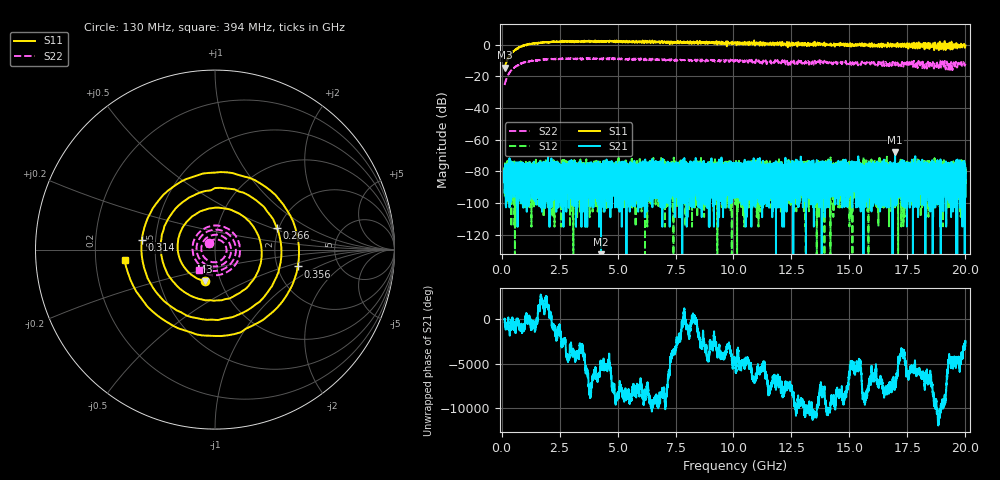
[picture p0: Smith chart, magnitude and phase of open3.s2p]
!Created with skrf (http://scikit-rf.org).
# GHz S RI R 50.0
!freq ReS11 ImS11 ReS21 ImS21 ReS12 ImS12 ReS22 ImS22
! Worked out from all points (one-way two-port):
!   20013 points, 130 MHz to 20 GHz, reference 50 ohm
!   highest |S21| = -68.10 dB at 16.97 GHz (marker M1); lowest = -178.5 dB at 4.287 GHz (marker M2)
!   lowest |S11| = -14.7 dB at 130 MHz (marker M3), VSWR 1.45, Z = 42.1 - j15.4 ohm
!   |S11| at or under -10 dB: start of sweep to 239.6 MHz
!   |S22| runs from -25.5 to -8.4 dB; largest |S21 - S12| = 0.00041
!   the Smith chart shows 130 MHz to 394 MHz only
!   S11 on the Smith chart (normalised r, x): 130 MHz: 0.84, -0.31; 266 MHz: 1.95, +0.54; 314 MHz: 0.42, +0.05; 356 MHz: 2.60, -0.63; 394 MHz: 0.33, -0.05
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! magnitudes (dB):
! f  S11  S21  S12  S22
! 130 MHz  -14.7  -83.8  -81.7  -25.5
! 266 MHz  -8.8  -84.9  -74.2  -19.6
! 314 MHz  -7.7  -80.3  -87.2  -18.5
! 356 MHz  -6.6  -96.8  -80.6  -17.3
! 394 MHz  -5.9  -86.9  -81.5  -16.7
! 768 MHz  -1.6  -85.6  -84.0  -12.3
! 1.298 GHz  0.7  -85.9  -86.3  -10.1
! 2.218 GHz  2.0  -84.0  -82.4  -9.0
! 3.442 GHz  2.1  -83.7  -83.6  -9.2
! 4.287 GHz  2.1  -178.5  -84.0  -9.0
! 6.754 GHz  1.9  -87.5  -89.3  -9.6
! 10.06 GHz  1.4  -82.1  -86.3  -9.8
! 13.38 GHz  -0.1  -85.2  -89.2  -11.6
! 16.69 GHz  -0.7  -81.5  -84.0  -12.1
! 16.97 GHz  0.3  -68.1  -89.2  -11.3
! 17.83 GHz  -2.3  -82.2  -80.9  -14.2
! 18.5 GHz  0.4  -96.7  -80.4  -12.1
! 18.95 GHz  -2.7  -83.6  -115.0  -14.4
! 19.4 GHz  1.8  -75.7  -92.7  -11.3
! 19.54 GHz  -1.3  -86.7  -81.2  -15.1
! 19.71 GHz  -1.2  -84.6  -84.3  -11.6
! 20 GHz  -0.6  -87.2  -85.6  -12.0
